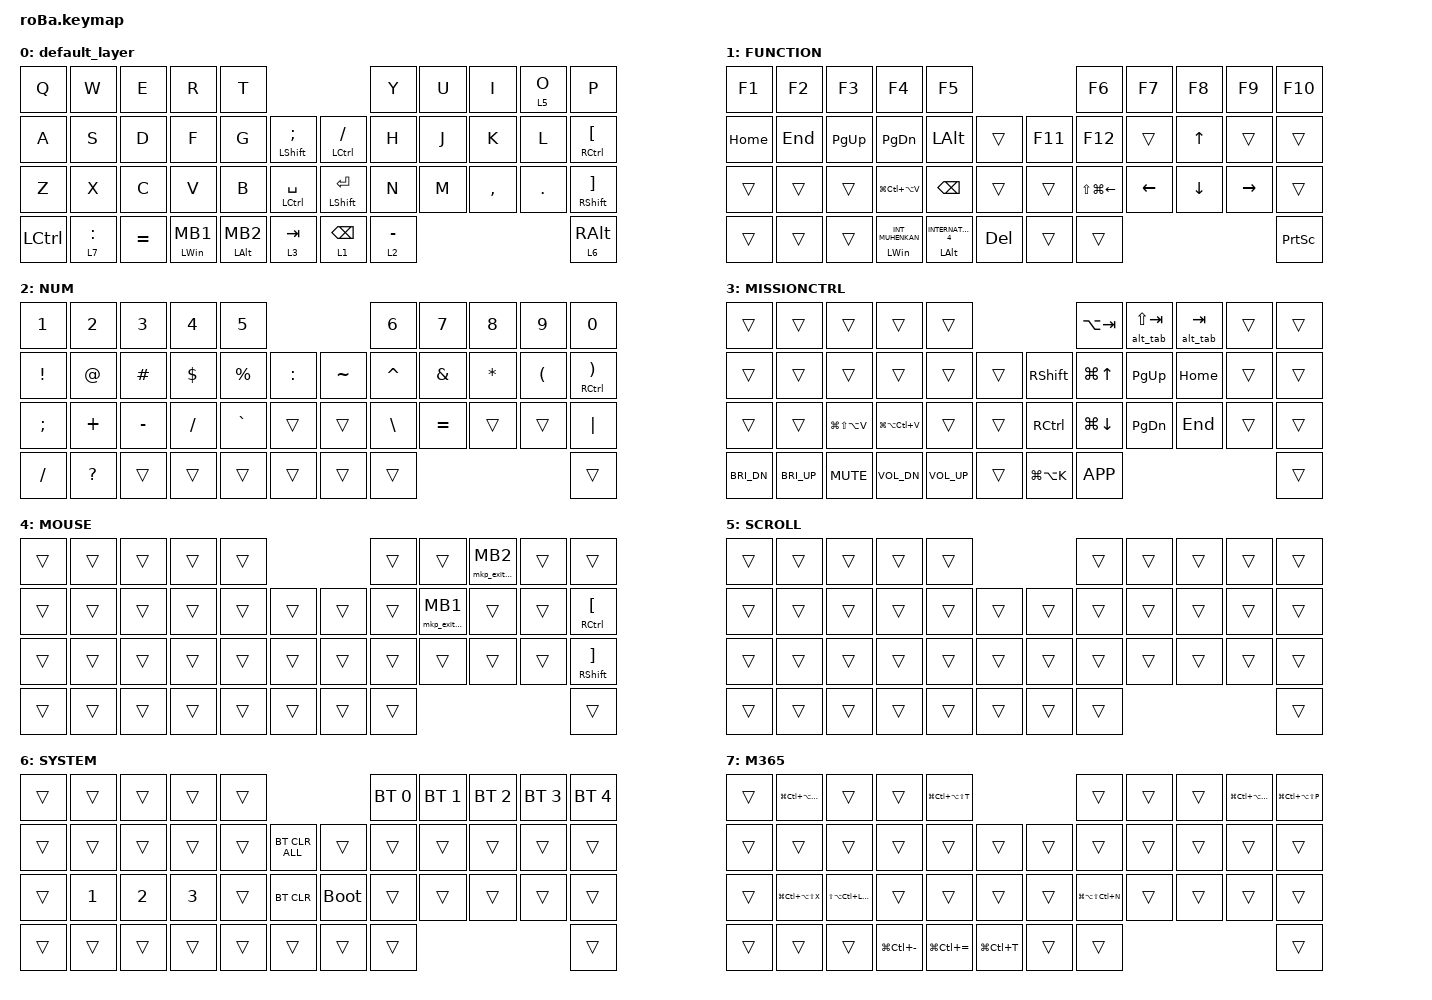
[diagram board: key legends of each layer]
#include <behaviors.dtsi>
#include <dt-bindings/zmk/bt.h>
#include <dt-bindings/zmk/keys.h>
#include <dt-bindings/zmk/pointing.h>

&trackball {
    scroll-layers = <5>;

    arrows {
        layers = <3>;
        bindings =
            <&kp RIGHT_ARROW>,
            <&kp LEFT_ARROW>,
            <&kp UP_ARROW>,
            <&kp DOWN_ARROW>;

        tick = <20>;
        wait-ms = <50>;
        tap-ms = <5>;
    };
};

&lt {
    flavor = "hold-preferred";
    tapping-term-ms = <170>;
};

&mt {
    flavor = "balanced";
    tapping-term-ms = <180>;
    quick-tap-ms = <150>;
    require-prior-idle-ms = <80>;
    hold-trigger-on-release;
};

/ {
    combos {
        compatible = "zmk,combos";

        double_quotation {
            bindings = <&kp DOUBLE_QUOTES>;
            key-positions = <20 19>;
        };

        single_quate {
            bindings = <&kp SINGLE_QUOTE>;
            key-positions = <18 19>;
        };

        escape {
            bindings = <&kp ESCAPE>;
            key-positions = <1 0>;
        };

        mo_3 {
            bindings = <&mo 3>;
            key-positions = <8 9>;
        };
    };

    macros {
        to_layer_0: to_layer_0 {
            compatible = "zmk,behavior-macro-one-param";
            #binding-cells = <1>;
            bindings = <&to 0 &macro_param_1to1 &kp MACRO_PLACEHOLDER>;
            label = "TO_LAYER_0";
        };

        mkp_exit_AML: mkp_exit_AML {
            compatible = "zmk,behavior-macro-one-param";
            #binding-cells = <1>;
            bindings =
                <&macro_press>,
                <&macro_param_1to1 &mkp MACRO_PLACEHOLDER>,
                <&macro_pause_for_release>,
                <&macro_release>,
                <&macro_param_1to1 &mkp MACRO_PLACEHOLDER>,
                <&macro_tap>,
                <&sl_for_exit_aml 4>;

            label = "MKP_EXIT_AML";
        };

        alt_tab: alt_tab {
            compatible = "zmk,behavior-macro-one-param";
            #binding-cells = <1>;
            bindings =
                <&macro_press>,
                <&kp LEFT_ALT>,
                <&macro_tap>,
                <&macro_param_1to1 &kp MACRO_PLACEHOLDER>,
                <&macro_tap>,
                <&sk_for_alt_tab LALT>,
                <&macro_release>,
                <&kp LEFT_ALT>,
                <&macro_press>;

            label = "ALT_TAB";
        };
    };

    behaviors {
        lt_to_layer_0: lt_to_layer_0 {
            compatible = "zmk,behavior-hold-tap";
            label = "LAYER_TAP_TO_0";
            bindings = <&mo>, <&to_layer_0>;

            #binding-cells = <2>;
            tapping-term-ms = <200>;
            flavor = "balanced";
        };

        mt_to_layer_0: mt_to_layer_0 {
            compatible = "zmk,behavior-hold-tap";
            label = "MT_TO_LAYER_0";
            bindings = <&kp>, <&to_layer_0>;

            #binding-cells = <2>;
            tapping-term-ms = <170>;
            flavor = "balanced";
            quick-tap-ms = <150>;
            require-prior-idle-ms = <120>;
            hold-trigger-on-release;
        };

        mmt: mmt {
            compatible = "zmk,behavior-hold-tap";
            label = "MMT";
            bindings = <&kp>, <&mkp>;

            #binding-cells = <2>;
            tapping-term-ms = <200>;
            flavor = "balanced";
        };

        scroll_lt: scroll_lt {
            compatible = "zmk,behavior-hold-tap";
            label = "SCROLL_LT";
            bindings = <&mo>, <&kp>;

            #binding-cells = <2>;
            tapping-term-ms = <200>;
            flavor = "tap-preferred";
            quick-tap-ms = <150>;
            require-prior-idle-ms = <150>;
        };

        sl_for_exit_aml: sl_for_exit_aml {
            compatible = "zmk,behavior-sticky-key";
            label = "SL_FOR_EXIT_AML";
            bindings = <&mo>;
            #binding-cells = <1>;
            release-after-ms = <150>;
            quick-release;
        };

        sk_for_alt_tab: sk_for_alt_tab {
            compatible = "zmk,behavior-sticky-key";
            label = "SK_FOR_ALT_TAB";
            bindings = <&kp>;
            #binding-cells = <1>;
            release-after-ms = <5000>;
            ignore-modifiers;
        };
    };

    keymap {
        compatible = "zmk,keymap";

        default_layer {
            bindings = <
&kp Q      &kp W        &kp E      &kp R              &kp T                                                    &kp Y        &kp U  &kp I      &scroll_lt 5 O  &kp P
&kp A      &kp S        &kp D      &kp F              &kp G              &mt LSHFT SEMI       &mt LCTRL FSLH   &kp H        &kp J  &kp K      &kp L           &mt RCTRL LBKT
&kp Z      &kp X        &kp C      &kp V              &kp B              &mt LCTRL SPACE      &mt LSHFT ENTER  &kp N        &kp M  &kp COMMA  &kp DOT         &mt RSHIFT RBKT
&kp LCTRL  &lt 7 COLON  &kp EQUAL  &mmt LEFT_WIN MB1  &mmt LEFT_ALT MB2  &lt 3 TAB            &lt 1 BSPC       &lt 2 MINUS                                    &lt 6 RIGHT_ALT
            >;
        };

        FUNCTION {
            bindings = <
&kp F1    &kp F2   &kp F3     &kp F4                     &kp F5                                              &kp F6            &kp F7    &kp F8    &kp F9     &kp F10
&kp HOME  &kp END  &kp PG_UP  &kp PG_DN                  &kp LALT                      &trans       &kp F11  &kp F12           &trans    &kp UP    &trans     &trans
&trans    &trans   &trans     &kp LG(LC(LA(V)))          &kp BSPC                      &trans       &trans   &kp LS(LG(LEFT))  &kp LEFT  &kp DOWN  &kp RIGHT  &trans
&trans    &trans   &trans     &mt LEFT_WIN INT_MUHENKAN  &mt LEFT_ALT INTERNATIONAL_4  &kp DEL      &trans   &trans                                           &kp PRINTSCREEN
            >;
        };

        NUM {
            bindings = <
&kp N1         &kp N2     &kp N3     &kp N4      &kp N5                                 &kp N6     &kp N7     &kp N8    &kp N9    &kp N0
&kp EXCL       &kp AT     &kp HASH   &kp DOLLAR  &kp PERCENT  &kp COLON      &kp TILDE  &kp CARET  &kp AMPS   &kp STAR  &kp LPAR  &mt RCTRL RPAR
&kp SEMICOLON  &kp PLUS   &kp MINUS  &kp SLASH   &kp GRAVE    &trans         &trans     &kp BSLH   &kp EQUAL  &trans    &trans    &kp PIPE
&kp FSLH       &kp QMARK  &trans     &trans      &trans       &trans         &trans     &trans                                    &trans
            >;
        };

        MISSIONCTRL {
            bindings = <
&trans        &trans        &trans             &trans             &trans                                   &kp LA(TAB)   &alt_tab LS(TAB)  &alt_tab TAB  &trans  &trans
&trans        &trans        &trans             &trans             &trans        &trans      &kp RSHIFT     &kp LG(UP)    &kp PG_UP         &kp HOME      &trans  &trans
&trans        &trans        &kp LG(LS(LA(V)))  &kp LG(LA(LC(V)))  &trans        &trans      &kp RCTRL      &kp LG(DOWN)  &kp PG_DN         &kp END       &trans  &trans
&kp C_BRI_DN  &kp C_BRI_UP  &kp C_MUTE         &kp C_VOL_DN       &kp C_VOL_UP  &trans      &kp LG(LA(K))  &kp K_APP                                             &trans
            >;
        };

        MOUSE {
            bindings = <
&trans  &trans  &trans  &trans  &trans                      &trans  &trans             &mkp_exit_AML MB2  &trans  &trans
&trans  &trans  &trans  &trans  &trans  &trans      &trans  &trans  &mkp_exit_AML MB1  &trans             &trans  &mt_to_layer_0 RCTRL LBKT
&trans  &trans  &trans  &trans  &trans  &trans      &trans  &trans  &trans             &trans             &trans  &mt_to_layer_0 RIGHT_SHIFT RBKT
&trans  &trans  &trans  &trans  &trans  &trans      &trans  &trans                                                &trans
            >;
        };

        SCROLL {
            bindings = <
&trans  &trans  &trans  &trans  &trans                      &trans  &trans  &trans  &trans  &trans
&trans  &trans  &trans  &trans  &trans  &trans      &trans  &trans  &trans  &trans  &trans  &trans
&trans  &trans  &trans  &trans  &trans  &trans      &trans  &trans  &trans  &trans  &trans  &trans
&trans  &trans  &trans  &trans  &trans  &trans      &trans  &trans                          &trans
            >;
        };

        SYSTEM {
            bindings = <
&trans  &trans        &trans        &trans        &trans                                   &bt BT_SEL 0  &bt BT_SEL 1  &bt BT_SEL 2  &bt BT_SEL 3  &bt BT_SEL 4
&trans  &trans        &trans        &trans        &trans  &bt BT_CLR_ALL      &trans       &trans        &trans        &trans        &trans        &trans
&trans  &kp NUMBER_1  &kp NUMBER_2  &kp NUMBER_3  &trans  &bt BT_CLR          &bootloader  &trans        &trans        &trans        &trans        &trans
&trans  &trans        &trans        &trans        &trans  &trans              &trans       &trans                                                  &trans
            >;
        };

        M365 {
            bindings = <
&trans  &kp LG(LC(LA(LS(W))))  &trans                    &trans             &kp LG(LC(LA(LS(T))))                             &trans                 &trans  &trans  &kp LG(LC(LA(LS(O))))  &kp LG(LC(LA(LS(P))))
&trans  &trans                 &trans                    &trans             &trans                 &trans             &trans  &trans                 &trans  &trans  &trans                 &trans
&trans  &kp LG(LC(LA(LS(X))))  &kp LS(LA(LC(LEFT_WIN)))  &trans             &trans                 &trans             &trans  &kp LG(LA(LS(LC(N))))  &trans  &trans  &trans                 &trans
&trans  &trans                 &trans                    &kp LG(LC(MINUS))  &kp LG(LC(EQUAL))      &kp LG(LC(T))      &trans  &trans                                                        &trans
            >;
        };
    };
};
